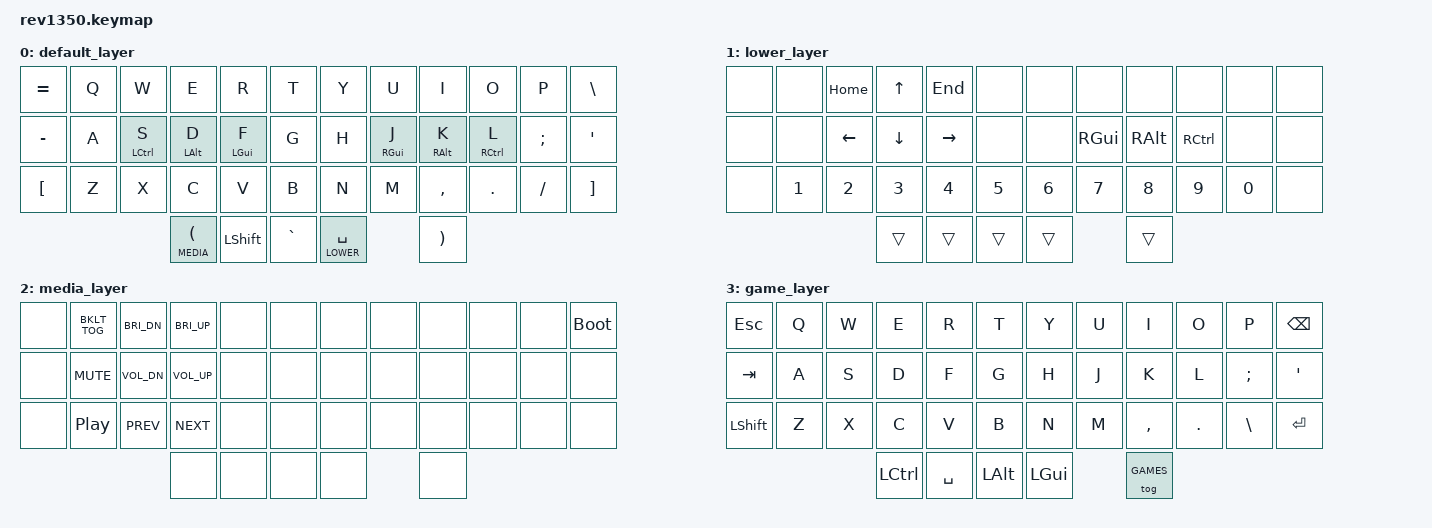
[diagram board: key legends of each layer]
/*
 * Copyright (c) 2020 The ZMK Contributors
 *
 * SPDX-License-Identifier: MIT
 */

#include <behaviors.dtsi>
#include <dt-bindings/zmk/keys.h>
#include <dt-bindings/zmk/bt.h>

#define BASE 0
#define LOWER   1
#define MEDIA   2
#define GAMES   3

/ {
        // Todo: New Behaviors
        //       double tap space to do period, space, one-shot shift
        behaviors {
                hm: homerow_mods {
                        compatible = "zmk,behavior-hold-tap";
                        label = "HOMEROW_MODS";
                        #binding-cells = <2>;
                        tapping-term-ms = <150>;
                        quick-tap-ms = <150>;
                        require-prior-idle-ms = <125>;
                        flavor = "tap-preferred";
                        bindings = <&kp>, <&kp>;
                };

                bspc_del: backspace_delete {
                        compatible = "zmk,behavior-mod-morph";
                        label = "BACKSPACE_DELETE";
                        #binding-cells = <0>;
                        bindings = <&kp BACKSPACE>, <&kp DELETE>;
                        mods = <(MOD_LSFT|MOD_RSFT)>;
                        keep-mods = <(MOD_RSFT)>;
                };
        };

        combos {
                compatible = "zmk,combos";
                combo_game_layer {
                        timeout-ms = <50>;
                        key-positions = <11 35>;
                        bindings = <&tog GAMES>;
                };

                combo_esc {
                        timeout-ms = <50>;
                        key-positions = <14 15>;
                        bindings = <&kp ESC>;
                        layers = <BASE LOWER >;
                };

                combo_tab {
                        timeout-ms = <50>;
                        key-positions = <15 16>;
                        bindings = <&kp TAB>;
                        layers = <BASE LOWER >;
                };

                combo_backspace {
                        timeout-ms = <50>;
                        key-positions = <19 20>;
                        bindings = <&bspc_del>;
                        layers = <BASE LOWER >;
                };

                combo_enter {
                        timeout-ms = <50>;
                        key-positions = <20 21>;
                        bindings = <&kp ENTER>;
                        layers = <BASE LOWER >;
                };

                combo_capsword {
                        timeout-ms = <50>;
                        key-positions = <21 22>;
                        bindings = <&caps_word>;
                        layers = <BASE LOWER >;
                };

                combo_capslock {
                        timeout-ms = <50>;
                        key-positions = <33 34>;
                        bindings = <&kp CAPSLOCK>;
                        layers = <BASE LOWER >;
                };
        };
        
        // TODO: Power settings... Enable sleep mode like on corne?
        keymap {
                compatible = "zmk,keymap";
                
                // TODO: Change space to mod morph so that shift + space is backspace?
                default_layer {
                       bindings = <
                                &kp EQUAL &kp Q &kp W       &kp E      &kp R      &kp T   &kp Y &kp U       &kp I      &kp O       &kp P    &kp BSLH
                                &kp MINUS &kp A &hm LCTRL S &hm LALT D &hm LGUI F &kp G   &kp H &hm RGUI J  &hm RALT K &hm RCTRL L &kp SEMI &kp SQT
                                &kp LBKT  &kp Z &kp X       &kp C      &kp V      &kp B   &kp N &kp M       &kp COMMA  &kp DOT     &kp FSLH &kp RBKT
                                                         &lt MEDIA LPAR &kp LSHFT &kp GRAVE &lt LOWER SPACE &kp RPAR
                        >;
                };

                lower_layer {
                        bindings = <
                                &none &none  &kp HOME &kp UP   &kp END   &none    &none  &none    &none    &none     &none  &none
                                &none &none  &kp LEFT &kp DOWN &kp RIGHT &none    &none  &kp RGUI &kp RALT &kp RCTRL &none  &none
                                &none &kp N1 &kp N2   &kp N3   &kp N4    &kp N5   &kp N6 &kp N7   &kp N8   &kp N9    &kp N0 &none
                                                          &trans    &trans    &trans    &trans    &trans
                        >;
                };

                media_layer {
                        bindings = <
                                &none &kp C_BKLT_TOG   &kp C_BRI_DN &kp C_BRI_UP &none &none   &none &none &none &none &none &bootloader
                                &none &kp C_MUTE       &kp C_VOL_DN &kp C_VOL_UP &none &none   &none &none &none &none &none &none
                                &none &kp C_PLAY_PAUSE &kp C_PREV   &kp C_NEXT   &none &none   &none &none &none &none &none &none
                                                                         &none    &none    &none    &none    &none
                        >;
                };

                game_layer {
                        bindings = <
                                &kp ESC    &kp Q &kp W &kp E &kp R &kp T   &kp Y &kp U &kp I     &kp O      &kp P         &kp BACKSPACE
                                &kp TAB    &kp A &kp S &kp D &kp F &kp G   &kp H &kp J &kp K     &kp L      &kp SEMI      &kp SQT
                                &kp LSHIFT &kp Z &kp X &kp C &kp V &kp B   &kp N &kp M &kp COMMA &kp PERIOD &kp BACKSLASH &kp ENTER
                                                  &kp LCTRL &kp SPACE &kp LALT &kp LGUI &tog GAMES
                        >;
                };
        };
};
